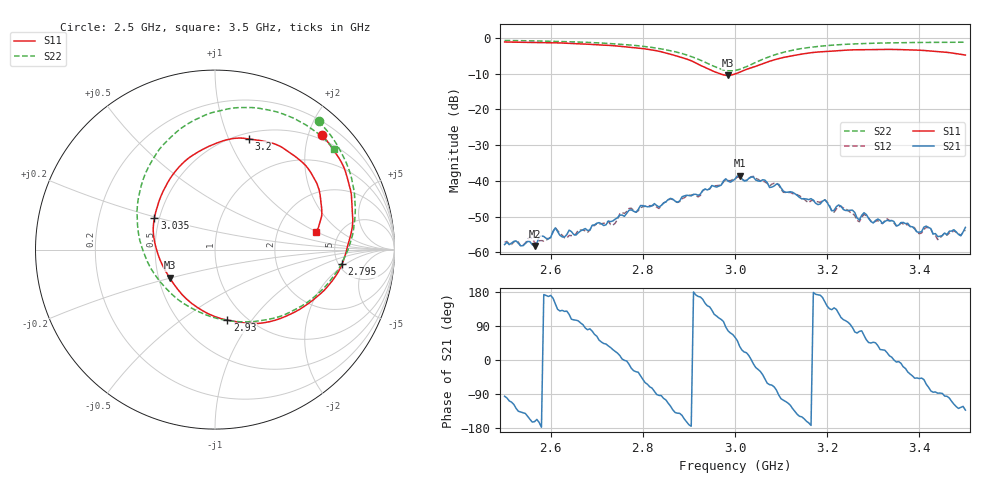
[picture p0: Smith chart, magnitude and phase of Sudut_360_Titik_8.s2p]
# Hz S RI R 50
! CMT, C1220, 16058040, 17.2.0/1
! Date: 15/08/2018 09:59:30
! Data: Format (Calibration Info)
! Freq  S11: Re/Im (F2)  S21: Re/Im (F2)  S12: Re/Im (F2)  S22: Re/Im (F2)
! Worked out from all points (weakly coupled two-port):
!   201 points, 2.5 GHz to 3.5 GHz, reference 50 ohm
!   highest |S21| = -38.60 dB at 3.01 GHz (marker M1); lowest = -58.2 dB at 2.565 GHz (marker M2)
!   lowest |S11| = -10.5 dB at 2.985 GHz (marker M3), VSWR 1.85, Z = 28.6 - j9.77 ohm
!   |S11| at or under -10 dB: 2.966 GHz to 3.002 GHz (36.24 MHz wide, 1.21 % of centre)
!   |S22| runs from -9.2 to -0.7 dB; largest |S21 - S12| = 0.00091
!   S11 on the Smith chart (normalised r, x): 2.5 GHz: 0.42, +2.25; 2.795 GHz: 5.33, -1.78; 2.93 GHz: 0.82, -0.77; 3.035 GHz: 0.47, +0.19; 3.2 GHz: 0.56, +1.18; 3.5 GHz: 3.38, +0.98
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2.5e9  0.598 0.637  -0.000126 -0.00128  -0.000112 -0.00138  0.5772 0.714
2.565e9  0.6696 0.5408  -0.00117 -0.000365  -0.00137 -0.00015  0.6487 0.6309
2.61e9  0.7165 0.4615  -0.00188 0.00115  -0.00189 0.00113  0.6943 0.5578
2.63e9  0.733 0.415  -0.00101 0.00129  -0.000846 0.00135  0.7128 0.5224
2.67e9  0.7576 0.3188  -0.000115 0.00206  -4.23e-05 0.00205  0.7482 0.4399
2.795e9  0.7071 -0.0824  0.00336 -0.00301  0.00315 -0.00281  0.7644 0.0746
2.835e9  0.6072 -0.2281  -0.00026 -0.0043  -0.000126 -0.0041  0.7039 -0.0796
2.93e9  0.069 -0.3928  -0.00693 0.00249  -0.00694 0.00214  0.2549 -0.3956
2.985e9  -0.2534 -0.1559  0.00225 0.00963  0.00187 0.00989  -0.1765 -0.2993
3e9  -0.3075 -0.054  0.00531 0.00918  0.00569 0.00896  -0.2775 -0.2111
3.01e9  -0.3296 0.0135  0.00947 0.00696  0.00894 0.00677  -0.3334 -0.1416
3.035e9  -0.3376 0.1751  0.0113 0.00031  0.0114 0.000452  -0.4196 0.0536
3.1e9  -0.1657 0.4944  -0.0017 -0.00775  -0.00196 -0.00739  -0.3422 0.5094
3.17e9  0.0914 0.6172  -0.00535 0.000168  -0.00535 -0.000291  -0.0723 0.7412
3.2e9  0.1871 0.6167  -0.00392 0.00305  -0.00387 0.00329  0.0393 0.7761
3.27e9  0.3788 0.5661  0.00071 0.00276  0.000621 0.0026  0.2602 0.7847
3.28e9  0.4008 0.5511  0.00152 0.00324  0.0014 0.00308  0.2868 0.7799
3.335e9  0.5075 0.4658  0.0027 0.000536  0.00276 0.00047  0.414 0.7422
3.4e9  0.5765 0.343  0.00125 -0.00144  0.00109 -0.00146  0.5307 0.6778
3.42e9  0.5871 0.2942  0.00069 -0.00212  0.000717 -0.0021  0.5621 0.6559
3.44e9  0.5933 0.2419  7.09e-05 -0.00166  6.82e-05 -0.00151  0.5908 0.6324
3.5e9  0.565 0.0977  -0.0015 -0.00165  -0.00147 -0.00143  0.6629 0.5596
